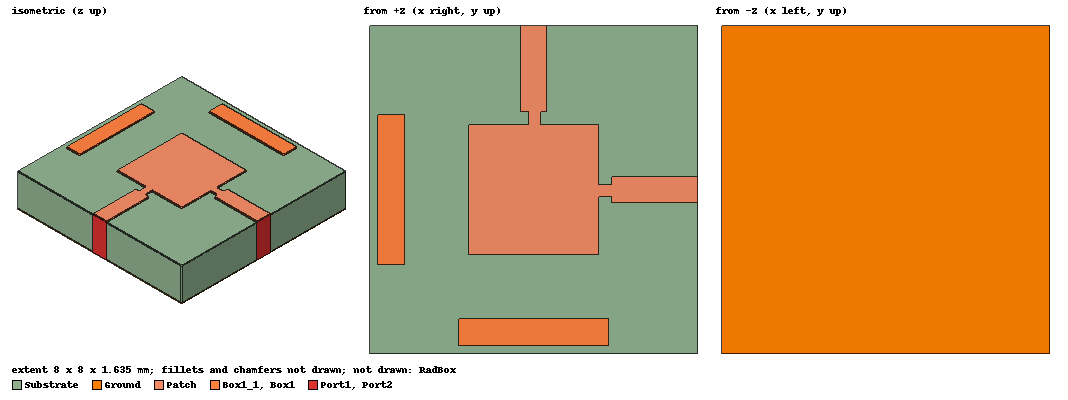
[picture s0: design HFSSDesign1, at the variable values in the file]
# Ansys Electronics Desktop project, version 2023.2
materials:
  vacuum: permittivity=1
  copper: permeability=0.999991 conductivity=58000000
  FR4_epoxy: permittivity=4.4 dielectric_loss_tangent=0.02
  air: permittivity=1.0006 permeability=1.0000004

design HFSSDesign1 (HFSS, HFSS Terminal Network, model units mm)
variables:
  D = 2.5mm
  Wt = 0.65mm
  Lp = 3.155mm
  Wp = 3.155mm
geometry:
  Ground [copper] = box(corner=(-4mm, -4mm, 0mm), size=(8mm, 8mm, 0.035mm))
  Substrate [FR4_epoxy] = box(corner=(-4mm, -4mm, 0mm), size=(8mm, 8mm, 1.6mm))
  Patch [copper] = box(corner=(-Lp/2, -Wp/2, 1.6mm), size=(Lp, Wp, 0.035mm))
  Entrance1 = box(corner=(Lp/2, -0.1675mm, 1.6mm), size=(0.335mm, 0.3mm, 0.035mm))
  Feed1 = box(corner=(Lp/2+.335mm, -Wt/2, 1.6mm), size=(3.665mm-Lp/2, Wt, 0.035mm))
  Patch.unite(Entrance1, Feed1)
  Port1 = rectangle(corner=(4mm, -0.325mm, 1.635mm), y_size=Wt, z_size=-1.635mm)
  RadBox [air] = box(corner=(-8mm, -8mm, -4mm), size=(16mm, 16mm, 8mm))
  Entrance2 = box(corner=(0.1675mm, Wp/2, 1.6mm), size=(-0.3mm, 0.335mm, 0.035mm))
  Feed2 = box(corner=(Wt/2, Wp/2 +.335mm, 1.6mm), size=(-Wt, 3.665mm-Wp/2, 0.035mm))
  Patch.unite(Entrance2, Feed2)
  Port2 = rectangle(corner=(0.325mm, 4mm, 1.635mm), z_size=-1.635mm, x_size=-Wt)
  Patch.fillet(Edges=Patch.edge(12 of 12) Radius=0.05mm Setback=0mm)
  Patch.fillet(Edges=Patch.edge(10 of 12) Radius=0.05mm Setback=0mm)
  Patch.fillet(Edges=Patch.edge(11 of 12) Radius=0.05mm Setback=0mm)
  Patch.fillet(Edges=Patch.edge(9 of 12) Radius=0.05mm Setback=0mm)
  Box1 [copper] = box(corner=((-3.655/2) mm, -3.8mm, 1.6mm), size=(3.655mm, Wt, 0.035mm))
  Box1_1 [copper] = Box1.duplicate_around_axis(axis=Z, angle=270deg, total=2)
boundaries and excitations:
  Rad1: Radiation Objects=RadBox
  1: Lumped Port Objects=Port1 LumpedPortType=Modal Modes{Mode1{IntLine{(4, 0, 0.035) -> (4, 0, 1.635)} CharImp=Zpi}} Impedance=50ohm
  2: Lumped Port Objects=Port2 LumpedPortType=Modal Modes{Mode1{IntLine{(0, 4, 0) -> (0, 4, 1.635)} CharImp=Zpi}} Impedance=50ohm
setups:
  Setup1: HfssDriven Frequency=17GHz MaxDeltaS=0.02 MaximumPasses=6 MinimumPasses=1 MinimumConvergedPasses=1 PercentRefinement=30 BasisOrder=1 PortAccuracy=2 DrivenSolverType="Direct Solver"
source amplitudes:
  1:1: 1V 0deg
  2:1: 0V 0deg
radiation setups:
  Infinite Sphere1: Infinite Sphere Theta=0deg..180deg step 2deg Phi=0deg..360deg step 2deg
  Box1: Near Box  Length=20mm Width=20mm LengthSamples=21 WidthSamples=21 CoordSystem=Global Height=20mm HeightSamples=21
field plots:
  Mag_H1, Vector_H1: H Field over Patch.face(at (0.8475, 1.5775, 1.6175), at (1.5775, -0.8475, 1.6175), +z, -y, -x, at (-0.83, 1.5775, 1.6175), -z, at (1.5775, 0.83, 1.6175), at (1.745, -0.1675, 1.6175), at (1.745, 0.1325, 1.6175), at (1.9125, -0.24625, 1.6175), at (2.95625, -0.325, 1.6175)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) on Setup1 : LastAdaptive at Freq=17GHz Phase=0deg
  Vector_H2, Vector_H4: H Field over Box1.face(all 6) on Setup1 : LastAdaptive at Freq=17GHz Phase=0deg
  Vector_H3: H Field over Patch.face(all 26) on Setup1 : LastAdaptive at Freq=17GHz Phase=0deg
  Vector_Jm1: Jm Fields over Patch.face(all 26) on Setup1 : LastAdaptive at Freq=17GHz Phase=0deg
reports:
  Gain Plot 1: GainTotal vs Theta on Setup1 : LastAdaptive, Infinite Sphere1 [Phi=0deg,90deg Freq=17GHz]; markers m1 at 0deg
  rE Plot 1: dB(rECoPolar), dB(rECrossPolar) vs Theta on Setup1 : LastAdaptive, Infinite Sphere1 [Phi=0deg,90deg Freq=17GHz]; markers m1 at 0deg, m2 at 0deg
  Antenna Params Table 1: TotalEfficiency vs Freq on Setup1 : LastAdaptive
  Plot 1: dB(GainCoPolar)-dB(GainCrossPolar) vs Phi, Theta on Setup1 : LastAdaptive, Infinite Sphere1 [Freq=17GHz]
  Plot 1: dB(GainCoPolar)-dB(GainCrossPolar) vs Theta on Setup1 : LastAdaptive, Infinite Sphere1 [Phi=0deg Freq=17GHz D=2mm,2.5mm,3mm,3.5mm]; dB(GainCoPolar)-dB(GainCrossPolar) vs Theta on Setup1 : LastAdaptive, Infinite Sphere1 [Phi=0deg Freq=17GHz D=0.5mm,1mm,1.5mm,2mm,2.5mm,3mm,3.5mm,4mm]
  Plot 1: dB(rECoPolar)-dB(rECrossPolar) vs Theta on Setup1 : LastAdaptive, Infinite Sphere1 [Phi=0deg,90deg Freq=17GHz]
